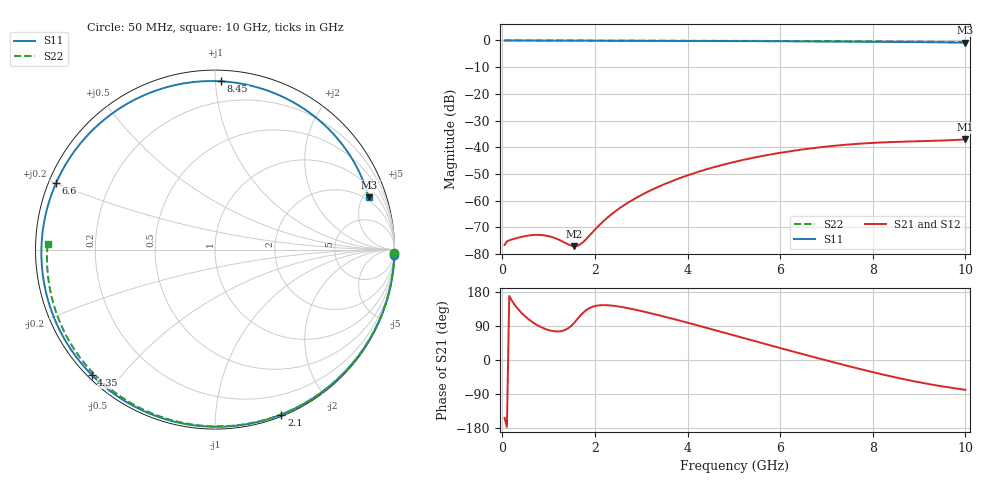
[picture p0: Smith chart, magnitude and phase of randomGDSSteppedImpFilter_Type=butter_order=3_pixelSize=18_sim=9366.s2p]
! freq	dB(S11)	phase(S11)	dB(S12)	phase(S12)
!  dB(S21)	phase(S21)	dB(S22)	phase(S22)
!S-par simulation data
#  GHz  S  DB  R 50
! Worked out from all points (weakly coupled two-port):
!   200 points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, 50 MHz to 10 GHz, reference 50 ohm
!   highest |S21| = -37.04 dB at 10 GHz (marker M1); lowest = -77.0 dB at 1.55 GHz (marker M2)
!   lowest |S11| = -0.9 dB at 10 GHz (marker M3), VSWR 19.93, Z = 85.9 + j276 ohm
!   |S11| at or under -10 dB: nowhere
!   |S22| runs from -0.6 to 0.0 dB; largest |S21 - S12| = 0
!   S11 on the Smith chart (normalised r, x): 50 MHz: 0, -68; 2.1 GHz: 0.02, -1.48; 4.35 GHz: 0.01, -0.42; 6.6 GHz: 0.02, +0.20; 8.45 GHz: 0.07, +1.03; 10 GHz: 1.72, +5.51
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0.05  -0.00 -1.7  -76.61 -152.7  -76.61 -152.7  -0.00 -1.0
0.1  -0.00 -3.4  -75.24 -176.8  -75.24 -176.8  -0.00 -2.1
0.2  -0.00 -6.7  -74.55 158.0  -74.55 158.0  -0.01 -4.1
0.75  -0.03 -25.0  -72.78 92.3  -72.78 92.3  -0.02 -15.3
1.05  -0.04 -34.8  -73.51 77.3  -73.51 77.3  -0.03 -21.3
1.55  -0.06 -50.8  -77.04 97.8  -77.04 97.8  -0.04 -31.3
1.75  -0.07 -57.2  -75.45 125.2  -75.45 125.2  -0.04 -35.2
2.1  -0.08 -68.1  -69.07 144.3  -69.07 144.3  -0.05 -42.1
2.65  -0.11 -84.9  -61.45 138.3  -61.45 138.3  -0.07 -52.6
3.4  -0.14 -107.1  -54.57 117.5  -54.57 117.5  -0.09 -66.7
4.35  -0.18 -134.6  -48.57 86.9  -48.57 86.9  -0.12 -83.9
5.05  -0.23 -154.9  -45.33 63.4  -45.33 63.4  -0.15 -96.2
5.85  -0.29 -178.9  -42.52 36.5  -42.52 36.5  -0.19 -109.9
6.6  -0.35 157.2  -40.56 11.8  -40.56 11.8  -0.24 -122.5
6.7  -0.36 153.8  -40.34 8.6  -40.34 8.6  -0.24 -124.1
7.6  -0.46 121.8  -38.80 -20.0  -38.80 -20.0  -0.32 -139.2
8.35  -0.54 92.1  -38.08 -42.1  -38.08 -42.1  -0.39 -152.0
8.45  -0.55 87.9  -38.02 -44.8  -38.02 -44.8  -0.40 -153.8
8.8  -0.60 73.0  -37.83 -53.9  -37.83 -53.9  -0.44 -159.9
9.2  -0.66 55.5  -37.65 -63.3  -37.65 -63.3  -0.49 -167.0
9.6  -0.74 37.4  -37.42 -71.5  -37.42 -71.5  -0.54 -174.4
10  -0.87 18.8  -37.04 -78.7  -37.04 -78.7  -0.60 178.0
